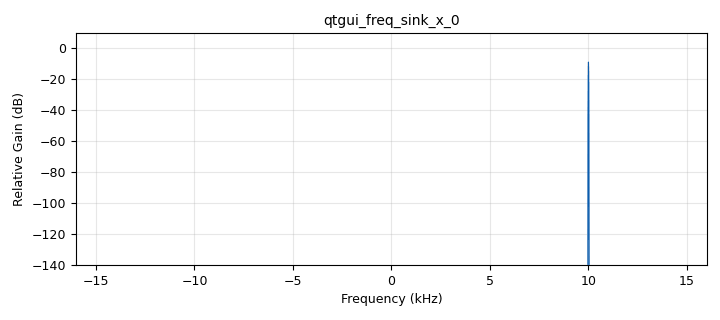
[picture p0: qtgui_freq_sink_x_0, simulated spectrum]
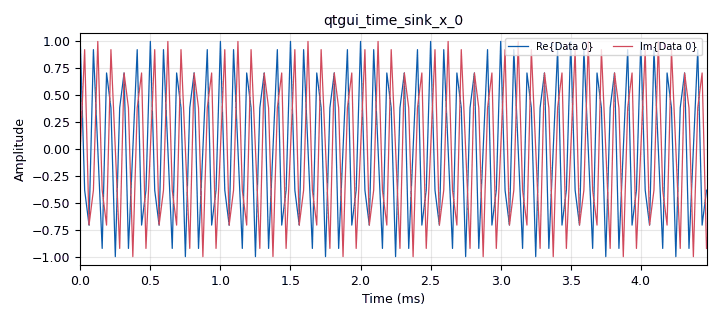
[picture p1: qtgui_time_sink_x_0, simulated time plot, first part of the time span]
options:
  parameters:
    generate_options: qt_gui
    id: sineWaveflo
    output_language: python
    title: first flow
  states: {}

blocks:
- name: samp_rate
  id: variable
  parameters:
    value: '32000'
  states: {}
- name: analog_sig_source_x_0
  id: analog_sig_source_x
  parameters:
    amp: '1'
    freq: '10000'
    offset: '0'
    phase: '0'
    samp_rate: samp_rate
    type: complex
    waveform: analog.GR_COS_WAVE
  states: {}
- name: qtgui_freq_sink_x_0
  id: qtgui_freq_sink_x
  parameters:
    bw: samp_rate
    fc: '0'
    fftsize: '4096'
    type: complex
  states: {}
- name: qtgui_time_sink_x_0
  id: qtgui_time_sink_x
  parameters:
    size: '1024'
    srate: samp_rate
    type: complex
  states: {}

connections:
- [analog_sig_source_x_0, '0', qtgui_freq_sink_x_0, '0']
- [analog_sig_source_x_0, '0', qtgui_time_sink_x_0, '0']

metadata:
  file_format: 1
  grc_version: 3.10.9.2
